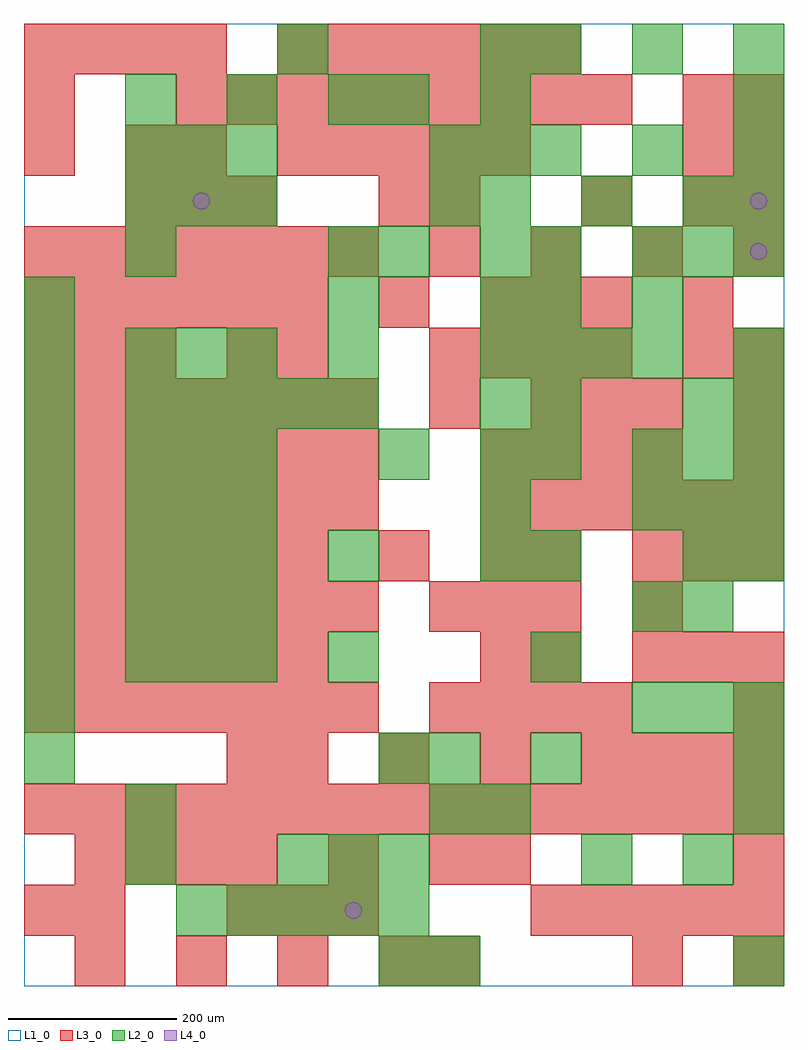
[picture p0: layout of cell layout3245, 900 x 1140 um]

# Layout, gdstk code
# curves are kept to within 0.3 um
import gdstk
lib = gdstk.Library(unit=1e-6, precision=1e-09)
def R(c, l, rs):  # rectangles x0, y0, x1, y1
    for r in rs: c.add(gdstk.rectangle(r[:2], r[2:], *l))
def A(c, l, x, y, w, h, nx, ny, dx, dy):  # array of equal rectangles
    R(c, l, [(x+i*dx, y+j*dy, x+i*dx+w, y+j*dy+h) for i in range(nx) for j in range(ny)])
def P(c, l, *ps):  # polygons
    for p in ps: c.add(gdstk.Polygon(p, *l))
L1_0 = (1, 0)
L2_0 = (2, 0)
L3_0 = (3, 0)
L4_0 = (4, 0)

layout3245 = lib.new_cell('layout3245')
R(layout3245, L1_0, [(0,0,900,1140)])
A(layout3245, L2_0, 180, 60, 60, 60, 5, 1, 60, 0)
A(layout3245, L2_0, 300, 120, 60, 60, 3, 1, 60, 0)
A(layout3245, L2_0, 0, 240, 60, 60, 1, 10, 0, 60)
A(layout3245, L2_0, 600, 240, 60, 60, 1, 4, 0, 120)
A(layout3245, L2_0, 720, 300, 60, 60, 3, 2, 60, 240)
A(layout3245, L2_0, 120, 360, 60, 60, 3, 5, 60, 60)
A(layout3245, L2_0, 540, 480, 60, 60, 1, 4, 0, 60)
A(layout3245, L2_0, 720, 600, 60, 60, 3, 2, 60, 240)
A(layout3245, L2_0, 120, 660, 60, 60, 5, 1, 60, 0)
A(layout3245, L2_0, 120, 720, 60, 60, 3, 2, 60, 180)
A(layout3245, L2_0, 360, 720, 60, 60, 1, 3, 0, 60)
A(layout3245, L2_0, 540, 720, 60, 60, 4, 1, 60, 0)
A(layout3245, L2_0, 540, 900, 60, 60, 3, 1, 120, 0)
A(layout3245, L2_0, 840, 900, 60, 60, 1, 3, 0, 60)
A(layout3245, L2_0, 120, 960, 60, 60, 3, 1, 60, 0)
A(layout3245, L2_0, 480, 960, 60, 60, 3, 1, 60, 0)
A(layout3245, L2_0, 120, 1020, 60, 60, 3, 1, 120, 0)
A(layout3245, L2_0, 600, 1080, 60, 60, 3, 1, 120, 0)
R(layout3245, L2_0, [(420,0,480,60), (480,0,540,60), (840,0,900,60), (120,120,180,180), (660,120,720,180), (780,120,840,180), (120,180,180,240), (480,180,540,240), (540,180,600,240), (840,180,900,240), (420,240,480,300), (480,240,540,300), (840,240,900,300), (360,360,420,420), (720,420,780,480), (780,420,840,480), (360,480,420,540), (780,480,840,540), (840,480,900,540), (420,600,480,660), (600,660,660,720), (780,660,840,720), (840,660,900,720), (840,720,900,780), (540,780,600,840), (600,780,660,840), (720,780,780,840), (120,840,180,900), (420,840,480,900), (540,840,600,900), (600,840,660,900), (480,900,540,960), (720,960,780,1020), (420,1020,480,1080), (540,1020,600,1080), (300,1080,360,1140), (540,1080,600,1140)])
A(layout3245, L3_0, 60, 0, 60, 60, 4, 1, 120, 0)
A(layout3245, L3_0, 240, 60, 60, 60, 3, 1, 60, 0)
A(layout3245, L3_0, 600, 60, 60, 60, 5, 1, 60, 0)
A(layout3245, L3_0, 60, 120, 60, 60, 4, 1, 60, 0)
A(layout3245, L3_0, 0, 180, 60, 60, 15, 1, 60, 0)
A(layout3245, L3_0, 300, 240, 60, 60, 4, 1, 120, 0)
A(layout3245, L3_0, 720, 240, 60, 60, 3, 3, 60, 120)
A(layout3245, L3_0, 0, 300, 60, 60, 7, 3, 60, 120)
A(layout3245, L3_0, 480, 300, 60, 60, 4, 2, 60, 420)
A(layout3245, L3_0, 0, 360, 60, 60, 6, 2, 60, 120)
A(layout3245, L3_0, 480, 420, 60, 60, 3, 1, 60, 0)
A(layout3245, L3_0, 540, 540, 60, 60, 6, 1, 60, 0)
A(layout3245, L3_0, 0, 600, 60, 60, 7, 2, 60, 60)
A(layout3245, L3_0, 540, 600, 60, 60, 4, 1, 60, 0)
A(layout3245, L3_0, 840, 600, 60, 60, 1, 3, 0, 60)
A(layout3245, L3_0, 600, 660, 60, 60, 3, 1, 60, 0)
A(layout3245, L3_0, 0, 720, 60, 60, 3, 1, 60, 0)
A(layout3245, L3_0, 0, 780, 60, 60, 6, 1, 60, 0)
A(layout3245, L3_0, 540, 780, 60, 60, 3, 1, 60, 0)
A(layout3245, L3_0, 0, 840, 60, 60, 7, 1, 60, 0)
A(layout3245, L3_0, 480, 840, 60, 60, 4, 1, 120, 0)
A(layout3245, L3_0, 120, 900, 60, 60, 3, 1, 60, 0)
A(layout3245, L3_0, 780, 900, 60, 60, 1, 3, 0, 60)
A(layout3245, L3_0, 840, 900, 60, 60, 1, 3, 0, 60)
A(layout3245, L3_0, 300, 960, 60, 60, 5, 1, 60, 0)
A(layout3245, L3_0, 180, 1020, 60, 60, 9, 1, 60, 0)
A(layout3245, L3_0, 0, 1080, 60, 60, 4, 1, 60, 0)
A(layout3245, L3_0, 300, 1080, 60, 60, 6, 1, 60, 0)
R(layout3245, L3_0, [(480,0,540,60), (720,0,780,60), (840,0,900,60), (0,60,60,120), (60,60,120,120), (360,120,420,180), (480,120,540,180), (540,120,600,180), (840,120,900,180), (240,240,300,300), (840,300,900,360), (540,360,600,420), (600,360,660,420), (720,420,780,480), (420,480,480,540), (540,480,600,540), (600,480,660,540), (480,660,540,720), (240,720,300,780), (300,720,360,780), (780,720,840,780), (420,780,480,840), (780,780,840,840), (420,900,480,960), (480,900,540,960), (660,900,720,960), (0,960,60,1020), (120,960,180,1020), (180,960,240,1020), (0,1020,60,1080)])
P(layout3245, L4_0, [(220,930),(219.239,933.827),(217.071,937.071),(213.827,939.239),(210,940),(206.173,939.239),(202.929,937.071),(200.761,933.827),(200,930),(200.761,926.173),(202.929,922.929),(206.173,920.761),(210,920),(213.827,920.761),(217.071,922.929),(219.239,926.173)],
  [(400,90),(399.239,93.827),(397.071,97.071),(393.827,99.239),(390,100),(386.173,99.239),(382.929,97.071),(380.761,93.827),(380,90),(380.761,86.173),(382.929,82.929),(386.173,80.761),(390,80),(393.827,80.761),(397.071,82.929),(399.239,86.173)],
  [(880,870),(879.239,873.827),(877.071,877.071),(873.827,879.239),(870,880),(866.173,879.239),(862.929,877.071),(860.761,873.827),(860,870),(860.761,866.173),(862.929,862.929),(866.173,860.761),(870,860),(873.827,860.761),(877.071,862.929),(879.239,866.173)],
  [(880,930),(879.239,933.827),(877.071,937.071),(873.827,939.239),(870,940),(866.173,939.239),(862.929,937.071),(860.761,933.827),(860,930),(860.761,926.173),(862.929,922.929),(866.173,920.761),(870,920),(873.827,920.761),(877.071,922.929),(879.239,926.173)])

lib.write_gds('layout3245.gds')
